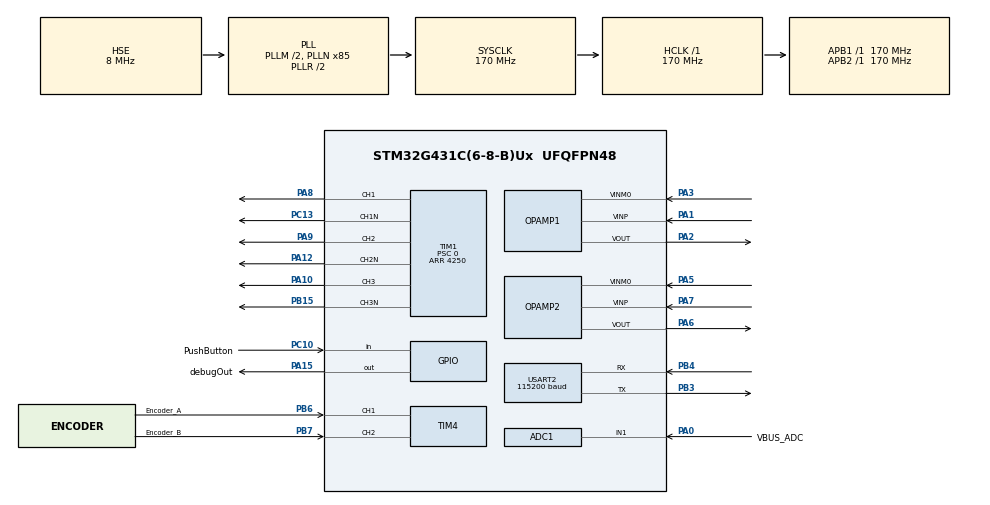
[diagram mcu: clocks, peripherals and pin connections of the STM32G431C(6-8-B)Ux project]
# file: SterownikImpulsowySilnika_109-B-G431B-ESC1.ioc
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ADC1.Channel-8\#ChannelRegularConversion=ADC_CHANNEL_1
ADC1.ClockPrescaler=ADC_CLOCK_ASYNC_DIV1
ADC1.ContinuousConvMode=DISABLE
ADC1.DMAContinuousRequests=DISABLE
ADC1.EnableInjectedConversion=ENABLE
ADC1.EnableRegularConversion=ENABLE
ADC1.ExternalTrigInjecConv=ADC_EXTERNALTRIGINJEC_T1_CC4
ADC1.InjNumberOfConversion=1
ADC1.InjectedChannel-6\#ChannelInjectedConversion=ADC_CHANNEL_3
ADC1.InjectedOffsetNumber-6\#ChannelInjectedConversion=ADC_OFFSET_NONE
ADC1.InjectedRank-6\#ChannelInjectedConversion=1
ADC1.InjectedSamplingTime-6\#ChannelInjectedConversion=ADC_SAMPLETIME_2CYCLES_5
ADC1.Mode=ADC_DUALMODE_REGSIMULT_INJECSIMULT
ADC1.NbrOfConversionFlag=1
ADC1.OffsetNumber-8\#ChannelRegularConversion=ADC_OFFSET_NONE
ADC1.Rank-8\#ChannelRegularConversion=1
ADC1.SamplingTime-8\#ChannelRegularConversion=ADC_SAMPLETIME_640CYCLES_5
ADC1.master=1
ADC2.ClockPrescaler=ADC_CLOCK_ASYNC_DIV1
ADC2.EnableInjectedConversion=ENABLE
ADC2.EnableRegularConversion=DISABLE
ADC2.InjNumberOfConversion=1
ADC2.InjectedChannel-8\#ChannelInjectedConversion=ADC_CHANNEL_3
ADC2.InjectedOffsetNumber-8\#ChannelInjectedConversion=ADC_OFFSET_NONE
ADC2.InjectedRank-8\#ChannelInjectedConversion=1
ADC2.InjectedSamplingTime-8\#ChannelInjectedConversion=ADC_SAMPLETIME_2CYCLES_5
ADC2.Mode=ADC_DUALMODE_REGSIMULT_INJECSIMULT
ADC2.Rank1_Channel=ADC_CHANNEL_3
Mcu.Family=STM32G4
Mcu.Name=STM32G431C(6-8-B)Ux
Mcu.Package=UFQFPN48
NVIC.ADC1_2_IRQn=true\:4\:0\:true\:false\:true\:true\:true\:true
NVIC.PriorityGroup=NVIC_PRIORITYGROUP_4
NVIC.TIM1_BRK_TIM15_IRQn=true\:4\:0\:true\:false\:true\:true\:true\:true
NVIC.TIM1_CC_IRQn=true\:4\:0\:true\:false\:true\:true\:true\:true
NVIC.TIM1_TRG_COM_TIM17_IRQn=true\:4\:0\:true\:false\:true\:true\:true\:true
NVIC.TIM1_UP_TIM16_IRQn=true\:4\:0\:true\:false\:true\:true\:true\:true
NVIC.TIM2_IRQn=true\:0\:0\:false\:false\:true\:true\:true\:true
NVIC.TIM4_IRQn=true\:0\:0\:false\:false\:true\:true\:true\:true
NVIC.USART2_IRQn=true\:8\:0\:true\:false\:true\:true\:true\:true
OPAMP1.PgaGain=OPAMP_PGA_GAIN_16_OR_MINUS_15
OPAMP2.PgaGain=OPAMP_PGA_GAIN_16_OR_MINUS_15
PA0.GPIO_Label=VBUS_ADC
PA0.Mode=IN1-Single-Ended
PA0.Signal=ADC1_IN1
PA1.Mode=PGA Connected-INVERTINGINPUT_IO0_BIAS
PA1.Signal=OPAMP1_VINP
PA10.Signal=S_TIM1_CH3
PA12.Mode=PWM Generation2 CH2 CH2N
PA12.Signal=TIM1_CH2N
PA13.Mode=Serial_Wire
PA13.Signal=SYS_JTMS-SWDIO
PA14.Mode=Serial_Wire
PA14.Signal=SYS_JTCK-SWCLK
PA15.GPIO_Label=debugOut
PA15.Signal=GPIO_Output
PA2.Signal=SharedAnalog_PA2
PA3.Mode=PGA Connected-INVERTINGINPUT_IO0_BIAS
PA3.Signal=OPAMP1_VINM0
PA5.Mode=PGA Connected-INVERTINGINPUT_IO0_BIAS
PA5.Signal=OPAMP2_VINM0
PA6.Signal=SharedAnalog_PA6
PA7.Mode=PGA Connected-INVERTINGINPUT_IO0_BIAS
PA7.Signal=OPAMP2_VINP
PA8.Signal=S_TIM1_CH1
PA9.Signal=S_TIM1_CH2
PB15.Mode=PWM Generation3 CH3 CH3N
PB15.Signal=TIM1_CH3N
PB3.Mode=Asynchronous
PB3.Signal=USART2_TX
PB4.Mode=Asynchronous
PB4.Signal=USART2_RX
PB6.GPIO_Label=Encoder_A
PB6.Signal=S_TIM4_CH1
PB7.GPIO_Label=Encoder_B
PB7.Signal=S_TIM4_CH2
PC10.GPIO_Label=PushButton
PC10.Signal=GPIO_Input
PC13.Mode=PWM Generation1 CH1 CH1N
PC13.Signal=TIM1_CH1N
PF0-OSC_IN.Mode=HSE-External-Oscillator
PF0-OSC_IN.Signal=RCC_OSC_IN
PF1-OSC_OUT.Mode=HSE-External-Oscillator
PF1-OSC_OUT.Signal=RCC_OSC_OUT
ProjectManager.HeapSize=0x200
ProjectManager.StackSize=0x400
ProjectManager.TargetToolchain=STM32CubeIDE
RCC.ADC12CLockSelection=RCC_ADC12CLKSOURCE_PLL
RCC.ADC12Freq_Value=42500000
RCC.AHBFreq_Value=170000000
RCC.APB1Freq_Value=170000000
RCC.APB1TimFreq_Value=170000000
RCC.APB2Freq_Value=170000000
RCC.APB2TimFreq_Value=170000000
RCC.CortexFreq_Value=170000000
RCC.EXTERNAL_CLOCK_VALUE=12288000
RCC.HCLKFreq_Value=170000000
RCC.HSE_VALUE=8000000
RCC.HSI48_VALUE=48000000
RCC.HSI_VALUE=16000000
RCC.LSE_VALUE=32768
RCC.PLLM=RCC_PLLM_DIV2
RCC.PLLN=85
RCC.PLLP=RCC_PLLP_DIV8
RCC.PLLSourceVirtual=RCC_PLLSOURCE_HSE
RCC.SYSCLKFreq_VALUE=170000000
RCC.SYSCLKSource=RCC_SYSCLKSOURCE_PLLCLK
RCC.USBFreq_Value=170000000
RCC.VCOOutputFreq_Value=340000000
SH.S_TIM1_CH1.0=TIM1_CH1,PWM Generation1 CH1 CH1N
SH.S_TIM1_CH2.0=TIM1_CH2,PWM Generation2 CH2 CH2N
SH.S_TIM1_CH3.0=TIM1_CH3,PWM Generation3 CH3 CH3N
SH.S_TIM4_CH1.0=TIM4_CH1,Encoder_Interface
SH.S_TIM4_CH2.0=TIM4_CH2,Encoder_Interface
SH.SharedAnalog_PA2.0=OPAMP1_VOUT,PGA Connected-INVERTINGINPUT_IO0_BIAS
SH.SharedAnalog_PA2.1=ADC1_IN3,IN3-Single-Ended
SH.SharedAnalog_PA6.0=OPAMP2_VOUT,PGA Connected-INVERTINGINPUT_IO0_BIAS
SH.SharedAnalog_PA6.1=ADC2_IN3,IN3-Single-Ended
TIM1.AutoReloadPreload=TIM_AUTORELOAD_PRELOAD_ENABLE
TIM1.BreakFilter=0
TIM1.BreakState=TIM_BREAK_DISABLE
TIM1.Channel-PWM\ Generation1\ CH1\ CH1N=TIM_CHANNEL_1
TIM1.Channel-PWM\ Generation2\ CH2\ CH2N=TIM_CHANNEL_2
TIM1.Channel-PWM\ Generation3\ CH3\ CH3N=TIM_CHANNEL_3
TIM1.Channel-PWM\ Generation4\ No\ Output=TIM_CHANNEL_4
TIM1.ClockDivision=TIM_CLOCKDIVISION_DIV2
TIM1.CounterMode=TIM_COUNTERMODE_CENTERALIGNED1
TIM1.DeadTime=85
TIM1.OCMode_PWM-PWM\ Generation4\ No\ Output=TIM_OCMODE_PWM1
TIM1.PeriodNoDither=4250
TIM1.Prescaler=0
TIM1.PulseNoDither_1=0
TIM1.PulseNoDither_2=0
TIM1.PulseNoDither_3=0
TIM1.PulseNoDither_4=4250-1
TIM1.RepetitionCounter=0
TIM1.TIM_MasterOutputTrigger=TIM_TRGO_OC4REF
TIM1.TIM_MasterOutputTrigger2=TIM_TRGO2_RESET
TIM2.Channel-Output\ Compare1\ No\ Output=TIM_CHANNEL_1
TIM2.OCMode_1=TIM_OCMODE_ACTIVE
TIM2.PeriodNoDither=1000-1
TIM2.Prescaler=17
TIM2.PulseNoDither_1=500-1
TIM4.EncoderMode=TIM_ENCODERMODE_TI12
USART2.BaudRate=115200
USART2.VirtualMode-Asynchronous=VM_ASYNC
VP_SYS_VS_DBSignals.Mode=DisableDeadBatterySignals
VP_TIM1_VS_ClockSourceINT.Mode=Internal
VP_TIM1_VS_no_output4.Mode=PWM Generation4 No Output
VP_TIM2_VS_ClockSourceINT.Mode=Internal
VP_TIM2_VS_no_output1.Mode=Output Compare1 No Output
board=custom

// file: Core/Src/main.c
/* USER CODE BEGIN Header */
/**
  ******************************************************************************
  * @file           : main.c
  * @brief          : Main program body
  ******************************************************************************
  */
/* USER CODE END Header */
#include "main.h"
#include "adc.h"
#include "opamp.h"
#include "tim.h"
#include "usart.h"
#include "gpio.h"

/* USER CODE BEGIN Includes */
#include "math.h"
#include "motorState.h"
#include "foc.h"
#include "trajectory.h"
#include "pid.h"
#include "app_build_config.h"

#include "axis_state.h"
#include "fault.h"
#include "commissioning.h"
#include "eventlog.h"
#include "telemetry.h"
#include "watchdogs.h"
#include "limits.h"
#include "safety_config.h"
#include "config_store.h"
#include "calibration.h"
#include "axis_control.h"
#include "fw_version.h"
#include "protocol.h"
#include "safety_monitor.h"
#include "compensation.h"
/* USER CODE END Includes */

void SystemClock_Config(void);

/* USER CODE BEGIN 0 */

volatile MotorState state;
volatile FieldOrientedControl foc;
volatile MotorTrajectory traj;
volatile PID_Controller_t pos_pid, vel_pid, vd_pid, vq_pid;

float theta_e, zad_vref, przyrost_theta_e;
volatile uint32_t moj_cnt, coIleZmianaKierunku;

uint32_t MessageLength;
char Message[99];
volatile uint32_t uartWD;

volatile float mojZadanyPrad, mojaZadAmpPradu;
volatile float mojaZadPredk;
volatile float mojaZadPos, pos_A, pos_B;
volatile float czasTrajektorii;
#define HOMING_SOFT_LIMIT_GUARD_UM 500
#ifndef APP_EXTERNAL_INTERLOCK_ACTIVE_STATE
#define APP_EXTERNAL_INTERLOCK_ACTIVE_STATE GPIO_PIN_RESET
#endif
static uint8_t g_homing_sequence_active = 0u;
static uint8_t g_homing_request_pending = 0u;
#if !APP_SAFE_INTEGRATION
static uint8_t g_motion_outputs_active = 0u;
static uint8_t g_align_zero_active = 0u;
static uint32_t g_align_zero_start_ms = 0u;
#define ALIGN_ZERO_VQ_REF 0.40f
#define ALIGN_ZERO_DURATION_MS 350u
#endif

static void MotionOutputs_Disable(void)
{
    foc.id_ref = 0.0f;
    foc.iq_ref = 0.0f;
    foc.id = 0.0f;
    foc.iq = 0.0f;
    foc.ialfa = 0.0f;
    foc.ibeta = 0.0f;
    foc.vd_ref = 0.0f;
    foc.vq_ref = 0.0f;
    foc.vel_ref = 0.0f;
    FOC_SetPWMduty((FieldOrientedControl*)&foc, 0u, 0u, 0u);

#if !APP_SAFE_INTEGRATION
    if (g_motion_outputs_active)
    {
        HAL_TIMEx_PWMN_Stop_IT(&htim1, TIM_CHANNEL_3);
        HAL_TIM_PWM_Stop_IT(&htim1, TIM_CHANNEL_3);
        HAL_TIMEx_PWMN_Stop_IT(&htim1, TIM_CHANNEL_2);
        HAL_TIM_PWM_Stop_IT(&htim1, TIM_CHANNEL_2);
        HAL_TIMEx_PWMN_Stop_IT(&htim1, TIM_CHANNEL_1);
        HAL_TIM_PWM_Stop_IT(&htim1, TIM_CHANNEL_1);
        g_motion_outputs_active = 0u;
    }
#endif
}

#if !APP_SAFE_INTEGRATION
static uint8_t MotionOutputs_Enable(void)
{
    uint16_t zero_vector_pwm = (uint16_t)(TIM1->ARR / 2u);

    if (g_motion_outputs_active)
        return 1u;

    FOC_SetPWMduty((FieldOrientedControl*)&foc, zero_vector_pwm, zero_vector_pwm, zero_vector_pwm);
    g_motion_outputs_active = 1u;

    if (HAL_TIM_PWM_Start_IT(&htim1, TIM_CHANNEL_1) != HAL_OK) { MotionOutputs_Disable(); return 0u; }
    if (HAL_TIMEx_PWMN_Start_IT(&htim1, TIM_CHANNEL_1) != HAL_OK) { MotionOutputs_Disable(); return 0u; }
    if (HAL_TIM_PWM_Start_IT(&htim1, TIM_CHANNEL_2) != HAL_OK) { MotionOutputs_Disable(); return 0u; }
    if (HAL_TIMEx_PWMN_Start_IT(&htim1, TIM_CHANNEL_2) != HAL_OK) { MotionOutputs_Disable(); return 0u; }
    if (HAL_TIM_PWM_Start_IT(&htim1, TIM_CHANNEL_3) != HAL_OK) { MotionOutputs_Disable(); return 0u; }
    if (HAL_TIMEx_PWMN_Start_IT(&htim1, TIM_CHANNEL_3) != HAL_OK) { MotionOutputs_Disable(); return 0u; }

    return 1u;
}
#endif

#if !APP_SAFE_INTEGRATION
static int32_t MotionControl_MToUm(float position_m)
{
    return (int32_t)(position_m * 1000000.0f);
}

static void MotionControl_CompleteHoming(void)
{
    int32_t endstop_left_um = MotionControl_MToUm(state.endstop_Left_m);
    int32_t endstop_right_um = MotionControl_MToUm(state.endstop_Right_m);

    if (!Limits_SetMeasuredTravelUm(endstop_left_um, endstop_right_um, HOMING_SOFT_LIMIT_GUARD_UM))
    {
        g_homing_sequence_active = 0u;
        Fault_Set(FAULT_CONFIG_INVALID);
        MotionOutputs_Disable();
        return;
    }

    g_homing_request_pending = 0u;
    Calibration_SetZeroPosUm(0);
    Calibration_SetValid(1u);
    state.calibrated = 1u;
    g_homing_sequence_active = 0u;
    EventLog_Push(EVT_CALIB_OK, endstop_right_um - endstop_left_um);
    AxisControl_NotifyCalibrationComplete(1u);
    (void)ConfigStore_Save();
}

static void MotionControl_UpdateHomingState(void)
{
    if (!g_homing_sequence_active)
        return;

    if (state.HomingSuccessful && traj.traj_done)
    {
        MotionControl_CompleteHoming();
        return;
    }

    if (state.HomingStarted && !state.HomingOngoing && !state.HomingSuccessful)
    {
        g_homing_request_pending = 0u;
        g_homing_sequence_active = 0u;
        MotionOutputs_Disable();
    }
}

static void MotionControl_SyncZeroPosition(void)
{
    __disable_irq();
    ResetZeroPosition((MotorState*)&state);
    traj.start_pos_m = state.pos_m;
    traj.dest_pos_m = state.pos_m;
    traj.traj_dist_m = 0.0f;
    traj.T_traj_s = 0.0f;
    traj.a_m_s2 = 0.0f;
    traj.a_set_m_s2 = 0.0f;
    traj.pos_set_m = state.pos_m;
    traj.vel_set_m_s = 0.0f;
    traj.t_elapsed_s = 0.0f;
    traj.traj_done = 1;
    state.pos_set_m = state.pos_m;
    state.vel_set_m_s = 0.0f;
    __enable_irq();
}

static void MotionControl_UpdateAlignZeroState(void)
{
    if (!g_align_zero_active)
        return;

    if (Fault_IsActive())
    {
        g_align_zero_active = 0u;
        state.enabled = 0u;
        MotionOutputs_Disable();
        AxisControl_NotifyCalibrationComplete(0u);
        return;
    }

    if ((HAL_GetTick() - g_align_zero_start_ms) < ALIGN_ZERO_DURATION_MS)
        return;

    MotionControl_SyncZeroPosition();
    Calibration_SetZeroPosUm(0);
    Calibration_SetValid(1u);
    state.calibrated = 1u;
    g_align_zero_active = 0u;
    state.enabled = 0u;
    MotionOutputs_Disable();
    EventLog_Push(EVT_CALIB_OK, 0);
    AxisControl_NotifyCalibrationComplete(1u);
    (void)ConfigStore_Save();
}
#endif

static void MotionControl_UpdateExternalInterlock(void)
{
#if !APP_SAFE_INTEGRATION && defined(PushButton_Pin) && defined(PushButton_GPIO_Port)
    const SafetyConfig_t *safety = SafetyConfig_Get();

    if (!safety->external_interlock_installed || safety->ignore_external_interlock)
        return;

    if (HAL_GPIO_ReadPin(PushButton_GPIO_Port, PushButton_Pin) == APP_EXTERNAL_INTERLOCK_ACTIVE_STATE)
    {
        g_homing_request_pending = 0u;
        g_homing_sequence_active = 0u;
        g_align_zero_active = 0u;
        state.enabled = 0u;
        Fault_Set(FAULT_ESTOP);
        MotionOutputs_Disable();
    }
#endif
}

static void MotionControl_UpdateOutputInhibit(void)
{
#if !APP_SAFE_INTEGRATION
    if (g_homing_sequence_active || g_align_zero_active)
        return;

    if (Fault_IsActive() || !state.enabled ||
        (AxisState_Get() == AXIS_STOPPING) ||
        (AxisState_Get() == AXIS_SAFE) ||
        (AxisState_Get() == AXIS_ESTOP))
    {
        MotionOutputs_Disable();
    }
#endif
}

uint8_t MotionControl_RequestHoming(void)
{
#if APP_SAFE_INTEGRATION
    return 0u;
#else
    if (Fault_IsActive()) return 0u;
    if (g_homing_sequence_active) return 0u;
    if (state.HomingOngoing) return 0u;
    if (state.HomingSuccessful) return 1u;

    g_homing_request_pending = 1u;
    AxisState_Set(AXIS_CALIBRATION);
    EventLog_Push(EVT_CALIB_START, 0);
    return 1u;
#endif
}

uint8_t MotionControl_RequestAlignZero(void)
{
#if APP_SAFE_INTEGRATION
    return 0u;
#else
    if (Fault_IsActive()) return 0u;
    if (!SafetyMonitor_PowerReady((const volatile MotorState*)&state)) return 0u;
    if (g_homing_sequence_active || g_homing_request_pending || g_align_zero_active) return 0u;
    if (state.enabled || state.HomingOngoing || (AxisState_Get() == AXIS_MOTION)) return 0u;
    if (Commissioning_GetStage() < 2u) return 0u;
    if (Commissioning_SafeMode()) return 0u;
    if (!Commissioning_ArmingOnly()) return 0u;
    if (Commissioning_ControlledMotion()) return 0u;

    MotionControl_SyncZeroPosition();
    Calibration_SetValid(0u);
    state.calibrated = 0u;
    state.enabled = 1u;
    g_align_zero_start_ms = HAL_GetTick();
    g_align_zero_active = 1u;
    foc.FocState = foc_PosOpenLoop;
    foc.OpenLoopPositionTheta = 0.0f;
    foc.vq_ref = ALIGN_ZERO_VQ_REF;
    AxisState_Set(AXIS_CALIBRATION);
    EventLog_Push(EVT_CALIB_START, 0);
    return 1u;
#endif
}

/* USER CODE END 0 */

int main(void)
{
  HAL_Init();
  SystemClock_Config();

  MX_GPIO_Init();
  MX_TIM4_Init();
  MX_ADC1_Init();
  MX_OPAMP1_Init();
  MX_OPAMP2_Init();
  MX_TIM1_Init();
  MX_ADC2_Init();
  MX_TIM2_Init();
  MX_USART2_UART_Init();

  /* USER CODE BEGIN 2 */
      uartWD = 0;
      mojZadanyPrad = 0.0f;
      mojaZadAmpPradu = 0.0f;
      mojaZadPredk = 0.0f;
      mojaZadPos = 0.0f;
      pos_A = 0.01f;
      pos_B = -0.01f;
      czasTrajektorii = 1.0f;

    MotorState_Init((MotorState*)&state);
    FOC_Init((FieldOrientedControl*)&foc, &htim1);

    pid_set_kp((PID_Controller_t*)&pos_pid, 25.0f);
    pid_set_ki((PID_Controller_t*)&pos_pid, 0.0f);
    pid_set_kd((PID_Controller_t*)&pos_pid, 0.0f);
    pid_set_ts((PID_Controller_t*)&pos_pid, (float)TIM1->ARR/170000000.0f*(float)foc.posLoopFreqDiv*2.0f);
    pid_set_deadband((PID_Controller_t*)&pos_pid, 5e-6f);
    pid_set_max_out((PID_Controller_t*)&pos_pid, 0.25f);
    pid_set_max_out_dynamic((PID_Controller_t*)&pos_pid, 100);
    pid_set_d_filter_fc((PID_Controller_t*)&pos_pid, 1000.0f);
    pid_set_max_d((PID_Controller_t*)&pos_pid, 0);
    pid_set_max_integral((PID_Controller_t*)&pos_pid, 0.25f);

    pid_set_kp((PID_Controller_t*)&vel_pid, 7.53f);
    pid_set_ki((PID_Controller_t*)&vel_pid, 1333.0f);
    pid_set_kd((PID_Controller_t*)&vel_pid, 0.0f);
    pid_set_ts((PID_Controller_t*)&vel_pid, (float)TIM1->ARR/170000000.0f*(float)foc.velLoopFreqDiv*2.0f);
    pid_set_deadband((PID_Controller_t*)&vel_pid, 1e-3f);
    pid_set_max_out((PID_Controller_t*)&vel_pid, 3.0f);
    pid_set_max_out_dynamic((PID_Controller_t*)&vel_pid, 100);
    pid_set_d_filter_fc((PID_Controller_t*)&vel_pid, 1000.0f);
    pid_set_max_d((PID_Controller_t*)&vel_pid, 0);
    pid_set_max_integral((PID_Controller_t*)&vel_pid, 3.0f);

    pid_set_kp((PID_Controller_t*)&vd_pid, 25.0f);
    pid_set_ki((PID_Controller_t*)&vd_pid, 4430.0f);
    pid_set_kd((PID_Controller_t*)&vd_pid, 0.0f);
    pid_set_ts((PID_Controller_t*)&vd_pid, (float)TIM1->ARR/170000000.0f*(float)foc.currentLoopFreqDiv*2.0f);
    pid_set_deadband((PID_Controller_t*)&vd_pid, 1e-3f);
    pid_set_max_out((PID_Controller_t*)&vd_pid, 7.0f);
    pid_set_max_out_dynamic((PID_Controller_t*)&vd_pid, 100);
    pid_set_d_filter_fc((PID_Controller_t*)&vd_pid, 1000.0f);
    pid_set_max_d((PID_Controller_t*)&vd_pid, 0);
    pid_set_max_integral((PID_Controller_t*)&vd_pid, 5.0f);

    pid_set_kp((PID_Controller_t*)&vq_pid, 25.0f);
    pid_set_ki((PID_Controller_t*)&vq_pid, 4430.0f);
    pid_set_kd((PID_Controller_t*)&vq_pid, 0.0f);
    pid_set_ts((PID_Controller_t*)&vq_pid, (float)TIM1->ARR/170000000.0f*(float)foc.currentLoopFreqDiv*2.0f);
    pid_set_deadband((PID_Controller_t*)&vq_pid, 1e-3f);
    pid_set_max_out((PID_Controller_t*)&vq_pid, 7.0f);
    pid_set_max_out_dynamic((PID_Controller_t*)&vq_pid, 100);
    pid_set_d_filter_fc((PID_Controller_t*)&vq_pid, 1000.0f);
    pid_set_max_d((PID_Controller_t*)&vq_pid, 0);
    pid_set_max_integral((PID_Controller_t*)&vq_pid, 5.0f);

    AxisState_Init();
    Fault_Init();
    Commissioning_Init();
    EventLog_Init();
    Telemetry_Init();
    Watchdogs_Init();
    Limits_Init();
    SafetyConfig_Init();
    SafetyMonitor_Init();
    ConfigStore_Init();
    Calibration_Init();
    Compensation_Init();
    AxisControl_Init();
    Protocol_Init();

    ConfigStore_Load();
    Commissioning_SetStage(1u);
    Commissioning_SetSafeMode(1u);
    state.maxcurrent = Limits_Get()->max_current_peak_A;
    EventLog_Push(EVT_BOOT, 0);
    AxisControl_RefreshState();

    HAL_OPAMP_Start(&hopamp1);
    HAL_OPAMP_Start(&hopamp2);

#if !APP_SAFE_INTEGRATION
    MotionOutputs_Disable();
    EncoderStart(0);
#endif

    HAL_TIM_OC_Start_IT(&htim1, TIM_CHANNEL_4);
    HAL_ADCEx_InjectedStart(&hadc2);
    HAL_ADCEx_InjectedStart_IT(&hadc1);
    HAL_TIM_OC_Start_IT(&htim2, TIM_CHANNEL_1);

    foc.max_PWM = TIM1->ARR * 0.9f;
    przyrost_theta_e = 0.0f;
    theta_e = 0.0f;
    zad_vref = 0.0f;
    coIleZmianaKierunku = 5000;
  /* USER CODE END 2 */

  while (1)
  {
#if !APP_SAFE_INTEGRATION
        MotionControl_UpdateExternalInterlock();
        if (g_homing_request_pending && !Fault_IsActive() && !state.HomingStarted)
        {
            g_homing_request_pending = 0u;
            g_homing_sequence_active = 1u;
            FOC_MotorHomeStart((MotorState*)&state, (FieldOrientedControl*)&foc);
        }
        MotionControl_UpdateHomingState();
        MotionControl_UpdateAlignZeroState();
#endif
        Protocol_Process();
        MotionControl_UpdateOutputInhibit();
        Telemetry_Flush();
        Watchdogs_Update();
        MotionControl_UpdateExternalInterlock();
        MotionControl_UpdateOutputInhibit();
        AxisControl_BackgroundTask();
  }
}

void SystemClock_Config(void)
{
  RCC_OscInitTypeDef RCC_OscInitStruct = {0};
  RCC_ClkInitTypeDef RCC_ClkInitStruct = {0};

  HAL_PWREx_ControlVoltageScaling(PWR_REGULATOR_VOLTAGE_SCALE1_BOOST);
  RCC_OscInitStruct.OscillatorType = RCC_OSCILLATORTYPE_HSE;
  RCC_OscInitStruct.HSEState = RCC_HSE_ON;
  RCC_OscInitStruct.PLL.PLLState = RCC_PLL_ON;
  RCC_OscInitStruct.PLL.PLLSource = RCC_PLLSOURCE_HSE;
  RCC_OscInitStruct.PLL.PLLM = RCC_PLLM_DIV2;
  RCC_OscInitStruct.PLL.PLLN = 85;
  RCC_OscInitStruct.PLL.PLLP = RCC_PLLP_DIV8;
  RCC_OscInitStruct.PLL.PLLQ = RCC_PLLQ_DIV2;
  RCC_OscInitStruct.PLL.PLLR = RCC_PLLR_DIV2;
  if (HAL_RCC_OscConfig(&RCC_OscInitStruct) != HAL_OK) Error_Handler();

  RCC_ClkInitStruct.ClockType = RCC_CLOCKTYPE_HCLK|RCC_CLOCKTYPE_SYSCLK|RCC_CLOCKTYPE_PCLK1|RCC_CLOCKTYPE_PCLK2;
  RCC_ClkInitStruct.SYSCLKSource = RCC_SYSCLKSOURCE_PLLCLK;
  RCC_ClkInitStruct.AHBCLKDivider = RCC_SYSCLK_DIV1;
  RCC_ClkInitStruct.APB1CLKDivider = RCC_HCLK_DIV1;
  RCC_ClkInitStruct.APB2CLKDivider = RCC_HCLK_DIV1;
  if (HAL_RCC_ClockConfig(&RCC_ClkInitStruct, FLASH_LATENCY_4) != HAL_OK) Error_Handler();
}

/* USER CODE BEGIN 4 */
void HAL_ADCEx_InjectedConvCpltCallback(ADC_HandleTypeDef* hadc)
{
    if(hadc->Instance == ADC1){
        MotorState_UpdateCurrent((MotorState*)&state, &hadc1, &hadc2);
        MotorState_Update((MotorState*)&state, &htim4, state.dt_s);

#if !APP_SAFE_INTEGRATION
        Trajectory_Update((MotorTrajectory*)&traj, state.dt_s);
#endif

#if !APP_SAFE_INTEGRATION
        uint8_t calibration_sequence_active = (uint8_t)(g_homing_sequence_active || g_align_zero_active);
#else
        uint8_t calibration_sequence_active = g_homing_sequence_active;
#endif
        if (SafetyMonitor_UpdateRt((const volatile MotorState*)&state,
                                   (const volatile MotorTrajectory*)&traj,
                                   calibration_sequence_active))
        {
            state.enabled = 0u;
            g_homing_request_pending = 0u;
            g_homing_sequence_active = 0u;
#if !APP_SAFE_INTEGRATION
            g_align_zero_active = 0u;
#endif
            MotionOutputs_Disable();
            return;
        }

#if !APP_SAFE_INTEGRATION
        if (!g_homing_sequence_active && !g_align_zero_active)
            AxisControl_UpdateRt();
#else
        AxisControl_UpdateRt();
#endif

        TelemetrySample_t t;
        t.ts_ms = 0u;
        t.pos_um = (int32_t)state.pos_um;
        t.pos_set_um = (int32_t)(state.pos_set_m * 1000000.0f);
        t.vel_um_s = (int32_t)(state.vel_m_s * 1000000.0f);
        t.vel_set_um_s = (int32_t)(state.vel_set_m_s * 1000000.0f);
        t.iq_ref_mA = (int16_t)(foc.iq_ref * 1000.0f);
        t.iq_meas_mA = (int16_t)(foc.iq * 1000.0f);
        t.state = (uint8_t)AxisState_Get();
        t.fault = (uint8_t)Fault_GetLast();
        Telemetry_Sample(&t);

#if !APP_SAFE_INTEGRATION
        if (!g_homing_sequence_active && !g_align_zero_active && !AxisControl_RunAllowed())
        {
            MotionOutputs_Disable();
            return;
        }
        if (!MotionOutputs_Enable())
        {
            state.enabled = 0u;
            Fault_Set(FAULT_CONFIG_INVALID);
            MotionOutputs_Disable();
            return;
        }

        if (g_align_zero_active)
        {
            foc.FocState = foc_PosOpenLoop;
            foc.OpenLoopPositionTheta = 0.0f;
            foc.vq_ref = ALIGN_ZERO_VQ_REF;
        }
        else if (!g_homing_sequence_active && (AxisState_Get() == AXIS_MOTION))
        {
            foc.FocState = foc_PosReg;
        }

        switch (foc.FocState) {
            case foc_PosReg:
                FOC_PositionRegulation((FieldOrientedControl*)&foc, (MotorState*)&state, (MotorTrajectory*)&traj, (PID_Controller_t*)&vd_pid, (PID_Controller_t*)&vq_pid, (PID_Controller_t*)&vel_pid, (PID_Controller_t*)&pos_pid);
                break;
            case foc_VelReg:
                FOC_VelocityRegulation((FieldOrientedControl*)&foc, (MotorState*)&state, (PID_Controller_t*)&vd_pid, (PID_Controller_t*)&vq_pid, (PID_Controller_t*)&vel_pid);
                break;
            case foc_CurrReg:
                FOC_CurrentRegulation((FieldOrientedControl*)&foc, (MotorState*)&state, (PID_Controller_t*)&vd_pid, (PID_Controller_t*)&vq_pid);
                break;
            case foc_PosOpenLoop:
                FOC_OpenLoop_Position((FieldOrientedControl*)&foc, (MotorState*)&state);
                break;
            default:
                foc.iq_ref = 0.0f;
                FOC_CurrentRegulation((FieldOrientedControl*)&foc, (MotorState*)&state, (PID_Controller_t*)&vd_pid, (PID_Controller_t*)&vq_pid);
                break;
        }
#endif
    }
}

void HAL_ADC_ConvCpltCallback(ADC_HandleTypeDef* hadc)
{
    if (hadc->Instance == ADC1)
    {
        state.VBUS_ADC = HAL_ADC_GetValue(hadc);
        MotorState_VBUS_Calculate((MotorState*)&state);
    }
}

void HAL_TIM_OC_DelayElapsedCallback(TIM_HandleTypeDef *htim)
{
    if (htim->Instance == TIM1 && htim->Channel == HAL_TIM_ACTIVE_CHANNEL_4)
    {
    }

    if (htim->Instance == TIM2 && htim->Channel == HAL_TIM_ACTIVE_CHANNEL_1){
        moj_cnt++;

#if APP_VBUS_MEASUREMENT_ENABLED
        state.Vbus_freqCnt++;
        if (state.Vbus_freqCnt >= 10u) {
            state.Vbus_freqCnt = 0u;
            MotorState_VbusMeasureStart((MotorState*)&state, &hadc1);
        }
#endif

#if !APP_SAFE_INTEGRATION
        foc.HomingLoopCnt++;
        if (foc.HomingLoopCnt >= 10u) {
            foc.HomingLoopCnt = 0u;
            if (!state.HomingSuccessful && state.HomingOngoing) {
                FOC_MotorHomeUpdate((MotorState*)&state, (FieldOrientedControl*)&foc, (MotorTrajectory*)&traj, 0.001f);
            }
        }
#endif

#if !APP_SAFE_INTEGRATION && APP_LEGACY_UART_STREAMING
        if(moj_cnt%10 == 0){
            if(!(HAL_UART_GetState(&huart2) == HAL_UART_STATE_BUSY_TX)){
                HAL_GPIO_WritePin(debugOut_GPIO_Port, debugOut_Pin, GPIO_PIN_SET);
                MessageLength = sprintf(Message,"%d;%d;%d;%d;%d\r\n",
                            (int32_t)(state.current_U*1000),
                            (int32_t)(state.current_V*1000),
                            (int32_t)(state.current_W*1000),
                            (int32_t)state.pos_um,
                            (int32_t)(state.vel_m_s*1000));
                HAL_UART_Transmit_IT(&huart2, (uint8_t*)Message, MessageLength);
                HAL_GPIO_WritePin(debugOut_GPIO_Port, debugOut_Pin, GPIO_PIN_RESET);
                uartWD = 0;
            } else {
                uartWD++;
            }

            if(uartWD>=(coIleZmianaKierunku-1)){
                HAL_UART_DeInit(&huart2);
                HAL_UART_Init(&huart2);
                uartWD = 0;
            }
        }

        if(moj_cnt%coIleZmianaKierunku == 0){
        }
#endif

#if !APP_SAFE_INTEGRATION
        if(moj_cnt>60000){
            moj_cnt = 0;
        }
#endif
    }
}

void HAL_TIM_PeriodElapsedCallback(TIM_HandleTypeDef *htim)
{
   if(htim->Instance == TIM4){
       if (__HAL_TIM_IS_TIM_COUNTING_DOWN(htim))
           state.encoder_ext--;
       else
           state.encoder_ext++;
   }
}
/* USER CODE END 4 */

void Error_Handler(void)
{
  __disable_irq();
  while (1)
  {
  }
}
